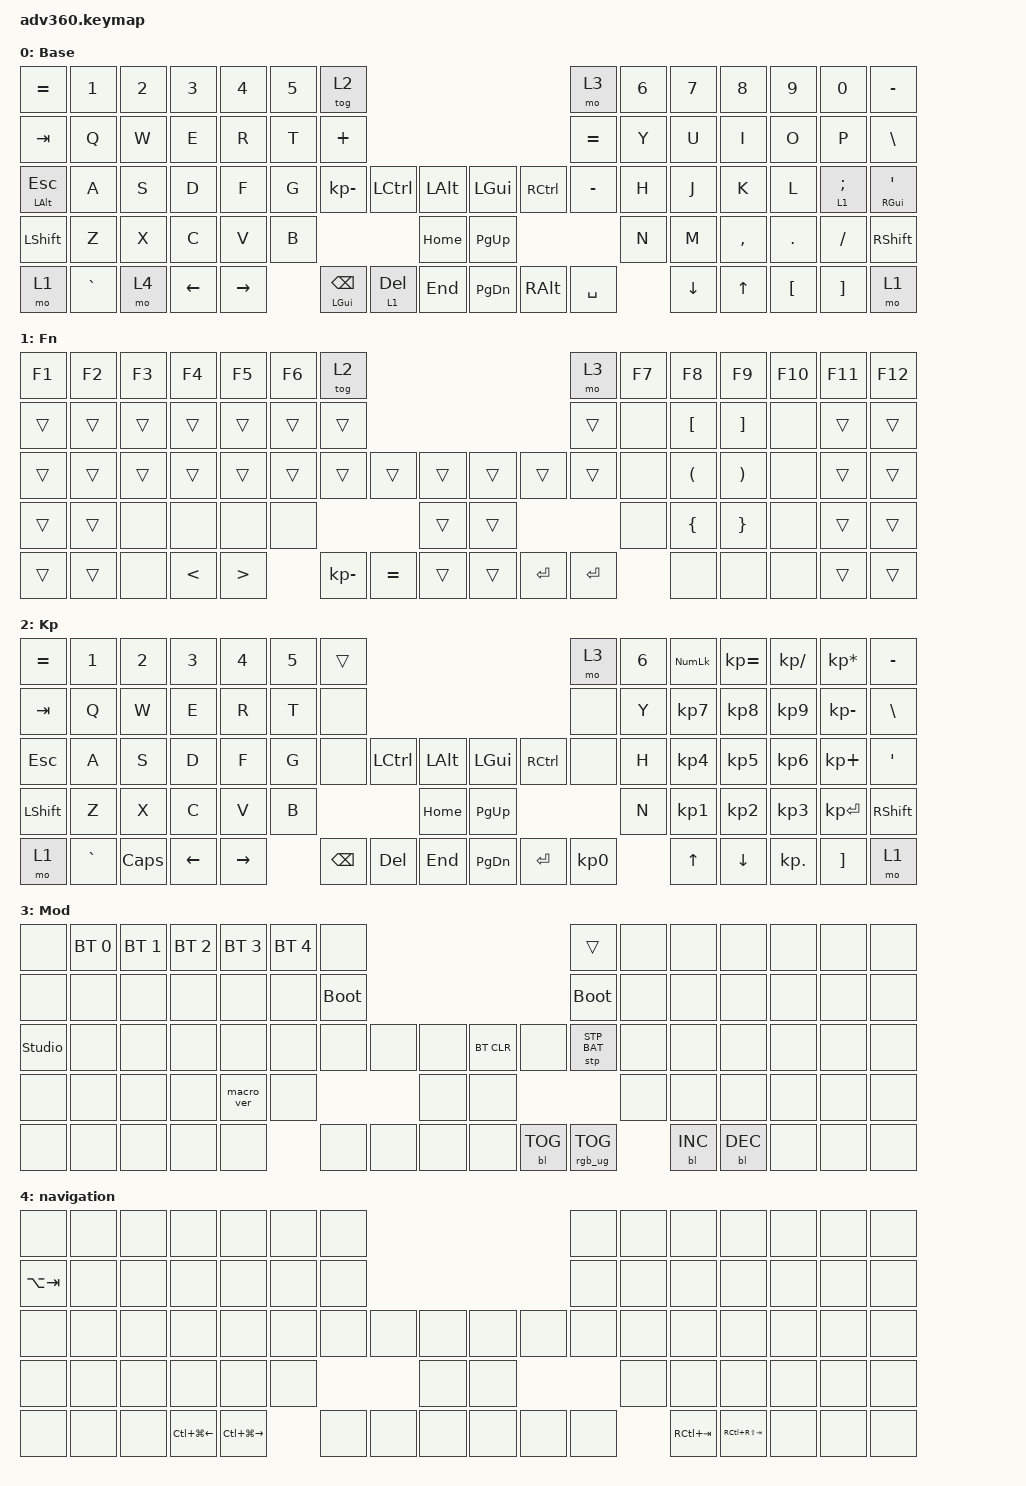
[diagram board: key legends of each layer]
#include <dt-bindings/zmk/stp.h>
#include <behaviors.dtsi>
#include <dt-bindings/zmk/backlight.h>
#include <dt-bindings/zmk/bt.h>
#include <dt-bindings/zmk/keys.h>
#include <dt-bindings/zmk/rgb.h>

&lt { tapping-term-ms = <120>; };

&mt { tapping-term-ms = <150>; };

/ {
    behaviors {
        #include "macros.dtsi"
      #include "version.dtsi"

        hm: homerow_mods {
            compatible = "zmk,behavior-hold-tap";
            label = "HOMEROW_MODS";
            #binding-cells = <2>;
            tapping-term-ms = <200>;
            quick_tap_ms = <175>;
            flavor = "tap-preferred";
            bindings = <&kp>, <&kp>;
        };
    };

    keymap {
        compatible = "zmk,keymap";

        default_layer {
            display-name = "Base";
            bindings = <
&kp EQUAL         &kp N1     &kp N2  &kp N3    &kp N4     &kp N5  &tog 2                                                                     &mo 3      &kp N6  &kp N7    &kp N8     &kp N9    &kp N0           &kp MINUS
&kp TAB           &kp Q      &kp W   &kp E     &kp R      &kp T   &kp PLUS                                                                   &kp EQUAL  &kp Y   &kp U     &kp I      &kp O     &kp P            &kp BSLH
&mt LEFT_ALT ESC  &kp A      &kp S   &kp D     &kp F      &kp G   &kp KP_MINUS            &kp LCTRL  &kp LALT      &kp LGUI   &kp RCTRL      &kp MINUS  &kp H   &kp J     &kp K      &kp L     &lt 1 SEMICOLON  &mt RIGHT_GUI SQT
&kp LSHFT         &kp Z      &kp X   &kp C     &kp V      &kp B                                      &kp HOME      &kp PG_UP                            &kp N   &kp M     &kp COMMA  &kp DOT   &kp FSLH         &kp RSHFT
&mo 1             &kp GRAVE  &mo 4   &kp LEFT  &kp RIGHT          &mt LEFT_GUI BACKSPACE  &lt 1 DEL  &kp END       &kp PG_DN  &kp RIGHT_ALT  &kp SPACE          &kp DOWN  &kp UP     &kp LBKT  &kp RBKT         &mo 1
            >;
        };

        fn {
            display-name = "Fn";
            bindings = <
&kp F1  &kp F2  &kp F3  &kp F4         &kp F5            &kp F6  &tog 2                                                      &mo 3      &kp F7  &kp F8                &kp F9                 &kp F10  &kp F11  &kp F12
&trans  &trans  &trans  &trans         &trans            &trans  &trans                                                      &trans     &none   &kp LEFT_BRACKET      &kp RIGHT_BRACKET      &none    &trans   &trans
&trans  &trans  &trans  &trans         &trans            &trans  &trans           &trans     &trans      &trans  &trans      &trans     &none   &kp LEFT_PARENTHESIS  &kp RIGHT_PARENTHESIS  &none    &trans   &trans
&trans  &trans  &none   &none          &none             &none                               &trans      &trans                         &none   &kp LEFT_BRACE        &kp RIGHT_BRACE        &none    &trans   &trans
&trans  &trans  &none   &kp LESS_THAN  &kp GREATER_THAN          &kp KP_SUBTRACT  &kp EQUAL  &trans      &trans  &kp RETURN  &kp ENTER          &none                 &none                  &none    &trans   &trans
            >;
        };

        keypad {
            display-name = "Kp";
            bindings = <
&kp EQUAL  &kp N1     &kp N2    &kp N3    &kp N4     &kp N5  &trans                                                   &mo 3      &kp N6  &kp KP_NUM  &kp KP_EQUAL  &kp KP_DIVIDE  &kp KP_MULTIPLY  &kp MINUS
&kp TAB    &kp Q      &kp W     &kp E     &kp R      &kp T   &none                                                    &none      &kp Y   &kp KP_N7   &kp KP_N8     &kp KP_N9      &kp KP_MINUS     &kp BSLH
&kp ESC    &kp A      &kp S     &kp D     &kp F      &kp G   &none     &kp LCTRL  &kp LALT      &kp LGUI   &kp RCTRL  &none      &kp H   &kp KP_N4   &kp KP_N5     &kp KP_N6      &kp KP_PLUS      &kp SQT
&kp LSHFT  &kp Z      &kp X     &kp C     &kp V      &kp B                        &kp HOME      &kp PG_UP                        &kp N   &kp KP_N1   &kp KP_N2     &kp KP_N3      &kp KP_ENTER     &kp RSHFT
&mo 1      &kp GRAVE  &kp CAPS  &kp LEFT  &kp RIGHT          &kp BSPC  &kp DEL    &kp END       &kp PG_DN  &kp ENTER  &kp KP_N0          &kp UP      &kp DOWN      &kp KP_DOT     &kp RBKT         &mo 1
            >;
        };

        mod {
            display-name = "Mod";
            bindings = <
&none           &bt BT_SEL 0  &bt BT_SEL 1  &bt BT_SEL 2  &bt BT_SEL 3  &bt BT_SEL 4  &none                                                  &trans           &none  &none       &none       &none  &none  &none
&none           &none         &none         &none         &none         &none         &bootloader                                            &bootloader      &none  &none       &none       &none  &none  &none
&studio_unlock  &none         &none         &none         &none         &none         &none        &none  &none      &bt BT_CLR  &none       &stp STP_BAT     &none  &none       &none       &none  &none  &none
&none           &none         &none         &none         &macro_ver    &none                             &none      &none                                    &none  &none       &none       &none  &none  &none
&none           &none         &none         &none         &none                       &none        &none  &none      &none       &bl BL_TOG  &rgb_ug RGB_TOG         &bl BL_INC  &bl BL_DEC  &none  &none  &none
            >;
        };

        navigation {
            bindings = <
&none        &none  &none  &none             &none              &none  &none                                  &none  &none  &none        &none            &none  &none  &none
&kp LA(TAB)  &none  &none  &none             &none              &none  &none                                  &none  &none  &none        &none            &none  &none  &none
&none        &none  &none  &none             &none              &none  &none  &none  &none      &none  &none  &none  &none  &none        &none            &none  &none  &none
&none        &none  &none  &none             &none              &none                &none      &none                &none  &none        &none            &none  &none  &none
&none        &none  &none  &kp LC(LG(LEFT))  &kp LC(LG(RIGHT))         &none  &none  &none      &none  &none  &none         &kp RC(TAB)  &kp RC(RS(TAB))  &none  &none  &none
            >;
        };
    };
};
